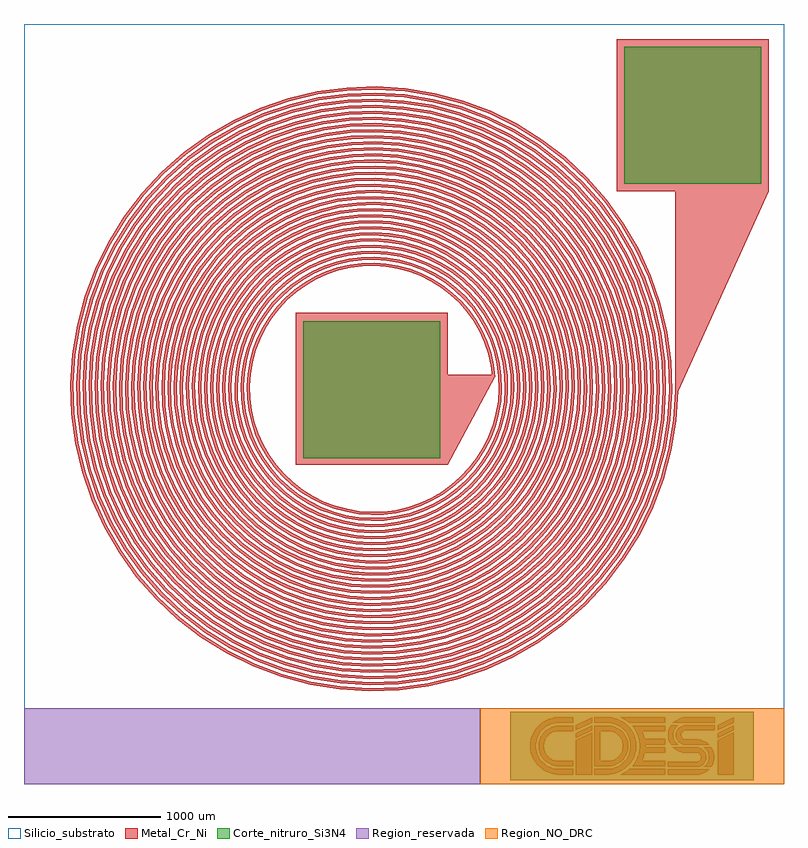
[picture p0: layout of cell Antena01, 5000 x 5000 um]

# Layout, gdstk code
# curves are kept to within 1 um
from math import pi, radians
import gdstk
lib = gdstk.Library(unit=1e-6, precision=1e-06)
def R(c, l, rs):  # rectangles x0, y0, x1, y1
    for r in rs: c.add(gdstk.rectangle(r[:2], r[2:], *l))
def P(c, l, *ps):  # polygons
    for p in ps: c.add(gdstk.Polygon(p, *l))
Silicio_substrato = (1, 1)
Region_reservada = (1, 2)
Region_NO_DRC = (1, 3)
Metal_Cr_Ni = (2, 0)
Corte_nitruro_Si3N4 = (3, 0)

spiral = lib.new_cell('Spiral')
spiral.add(gdstk.FlexPath([(-453546,50627),(-453549,50705),(-453560,50783),(-453579,50860),(-453605,50934),(-453638,51006),(-453678,51074),(-453724,51137),(-453777,51196),(-453835,51250),(-453898,51297),(-453966,51339),(-454037,51373),(-454111,51400),(-454188,51420),(-454267,51432),(-454346,51437),(-454425,51434),(-454504,51423),(-454582,51404),(-454657,51378),(-454729,51344),(-454798,51304),(-454863,51257),(-454922,51203),(-454976,51144),(-455025,51080),(-455066,51012),(-455101,50940),(-455129,50864),(-455149,50787),(-455161,50707),(-455166,50627),(-455163,50547),(-455151,50467),(-455132,50388),(-455106,50312),(-455072,50239),(-455031,50169),(-454983,50104),(-454929,50044),(-454870,49989),(-454805,49940),(-454736,49898),(-454663,49862),(-454586,49835),(-454508,49814),(-454427,49802),(-454346,49797),(-454265,49800),(-454184,49812),(-454105,49831),(-454027,49858),(-453953,49892),(-453883,49934),(-453817,49982),(-453756,50037),(-453700,50097),(-453651,50162),(-453608,50232),(-453572,50307),(-453544,50384),(-453523,50463),(-453511,50545),(-453506,50627),(-453509,50709),(-453521,50791),(-453540,50871),(-453568,50949),(-453602,51024),(-453644,51096),(-453693,51163),(-453748,51225),(-453810,51281),(-453876,51331),(-453947,51374),(-454022,51410),(-454100,51439),(-454180,51459),(-454263,51472),(-454346,51477),(-454429,51474),(-454512,51462),(-454593,51442),(-454672,51415),(-454748,51379),(-454820,51337),(-454888,51287),(-454951,51232),(-455007,51170),(-455058,51103),(-455102,51031),(-455138,50955),(-455167,50876),(-455188,50795),(-455201,50711),(-455206,50627),(-455202,50543),(-455191,50459),(-455171,50377),(-455143,50297),(-455107,50220),(-455064,50147),(-455014,50079),(-454958,50015),(-454895,49958),(-454827,49907),(-454755,49862),(-454678,49826),(-454598,49796),(-454515,49775),(-454431,49762),(-454346,49757),(-454261,49761),(-454176,49772),(-454093,49793),(-454012,49821),(-453934,49857),(-453861,49901),(-453791,49951),(-453727,50008),(-453669,50072),(-453617,50140),(-453573,50214),(-453535,50291),(-453506,50372),(-453484,50456),(-453471,50541),(-453466,50627),(-453470,50713),(-453482,50799),(-453502,50883),(-453531,50965),(-453567,51043),(-453611,51118),(-453662,51188),(-453720,51253),(-453784,51312),(-453854,51364),(-453928,51409),(-454006,51447),(-454088,51477),(-454173,51499),(-454259,51512),(-454346,51517),(-454433,51513),(-454520,51501),(-454605,51480),(-454688,51452),(-454767,51415),(-454843,51370),(-454913,51318),(-454979,51260),(-455038,51195),(-455091,51125),(-455137,51050),(-455175,50970),(-455205,50888),(-455227,50802),(-455241,50715),(-455246,50627),(-455242,50539),(-455230,50451),(-455209,50365),(-455180,50282),(-455142,50201),(-455097,50125),(-455045,50053),(-454986,49987),(-454921,49927),(-454849,49873),(-454773,49827),(-454693,49789),(-454610,49758),(-454523,49736),(-454435,49722),(-454346,49717),(-454257,49721),(-454168,49733),(-454081,49754),(-453997,49784),(-453916,49822),(-453838,49867),(-453766,49920),(-453699,49980),(-453638,50046),(-453584,50118),(-453537,50195),(-453498,50276),(-453467,50360),(-453445,50448),(-453431,50537),(-453426,50627),(-453430,50717),(-453442,50807),(-453464,50895),(-453494,50980),(-453532,51062),(-453578,51140),(-453631,51213),(-453692,51281),(-453759,51343),(-453831,51397),(-453909,51444),(-453991,51484),(-454077,51515),(-454165,51538),(-454255,51552),(-454346,51557),(-454437,51553),(-454528,51540),(-454617,51519),(-454703,51489),(-454786,51450),(-454865,51403),(-454939,51349),(-455007,51288),(-455069,51221),(-455124,51147),(-455172,51069),(-455212,50986),(-455244,50899),(-455267,50810),(-455281,50719),(-455286,50627),(-455282,50535),(-455269,50443),(-455247,50354),(-455217,50266),(-455178,50182),(-455131,50103),(-455076,50028),(-455014,49959),(-454946,49896),(-454872,49840),(-454792,49792),(-454709,49752),(-454621,49720),(-454531,49696),(-454439,49682),(-454346,49677),(-454253,49681),(-454160,49694),(-454070,49716),(-453981,49747),(-453897,49786),(-453816,49834),(-453741,49889),(-453671,49952),(-453607,50021),(-453551,50096),(-453502,50176),(-453461,50261),(-453429,50349),(-453406,50440),(-453391,50533),(-453386,50627),(-453390,50721),(-453403,50815),(-453426,50906),(-453457,50995),(-453497,51081),(-453545,51162),(-453601,51239),(-453664,51309),(-453733,51373),(-453809,51430),(-453890,51480),(-453976,51521),(-454065,51553),(-454157,51577),(-454251,51592),(-454346,51597),(-454441,51593),(-454535,51580),(-454628,51557),(-454718,51525),(-454805,51485),(-454887,51437),(-454964,51380),(-455035,51316),(-455100,51246),(-455158,51169),(-455208,51087),(-455249,51001),(-455282,50911),(-455306,50818),(-455321,50723),(-455326,50627),(-455322,50531),(-455308,50436),(-455286,50342),(-455254,50251),(-455213,50164),(-455164,50080),(-455107,50003),(-455043,49930),(-454971,49865),(-454894,49807),(-454811,49757),(-454724,49715),(-454633,49681),(-454539,49657),(-454443,49642),(-454346,49637),(-454249,49641),(-454153,49655),(-454058,49678),(-453966,49710),(-453878,49751),(-453794,49801),(-453715,49858),(-453642,49923),(-453576,49995),(-453518,50074),(-453467,50157),(-453424,50245),(-453391,50337),(-453366,50432),(-453351,50529),(-453346,50627),(-453350,50725),(-453364,50822),(-453387,50918),(-453420,51011),(-453461,51100),(-453511,51185),(-453570,51264),(-453635,51338),(-453708,51404),(-453787,51464),(-453871,51515),(-453960,51558),(-454053,51592),(-454149,51616),(-454247,51632),(-454346,51637),(-454445,51633),(-454543,51619),(-454640,51595),(-454733,51562),(-454824,51520),(-454909,51470),(-454990,51411),(-455064,51345),(-455131,51271),(-455191,51192),(-455243,51106),(-455286,51016),(-455320,50923),(-455345,50826),(-455360,50727),(-455366,50627),(-455362,50527),(-455348,50428),(-455324,50330),(-455291,50236),(-455248,50145),(-455197,50058),(-455138,49977),(-455071,49902),(-454997,49834),(-454916,49774),(-454830,49721),(-454739,49678),(-454644,49643),(-454547,49618),(-454447,49603),(-454346,49597),(-454245,49601),(-454145,49616),(-454046,49640),(-453951,49673),(-453859,49716),(-453772,49767),(-453690,49827),(-453614,49895),(-453545,49970),(-453484,50051),(-453432,50138),(-453387,50230),(-453353,50326),(-453327,50424),(-453312,50525),(-453306,50627),(-453310,50729),(-453325,50830),(-453349,50929),(-453383,51026),(-453426,51119),(-453478,51207),(-453539,51290),(-453607,51366),(-453683,51435),(-453765,51497),(-453853,51550),(-453945,51595),(-454042,51630),(-454141,51656),(-454243,51671),(-454346,51677),(-454449,51673),(-454551,51658),(-454651,51634),(-454749,51599),(-454842,51556),(-454931,51503),(-455015,51442),(-455092,51373),(-455162,51297),(-455224,51214),(-455278,51125),(-455323,51032),(-455359,50934),(-455384,50834),(-455400,50731),(-455406,50627),(-455402,50523),(-455387,50420),(-455362,50319),(-455328,50220),(-455284,50126),(-455230,50036),(-455169,49952),(-455099,49874),(-455022,49803),(-454938,49740),(-454849,49686),(-454755,49641),(-454656,49605),(-454555,49579),(-454451,49563),(-454346,49557),(-454241,49562),(-454137,49576),(-454035,49601),(-453936,49636),(-453840,49681),(-453749,49734),(-453664,49796),(-453586,49867),(-453515,49945),(-453451,50029),(-453396,50119),(-453351,50215),(-453314,50314),(-453288,50417),(-453272,50521),(-453266,50627),(-453271,50733),(-453286,50838),(-453311,50941),(-453346,51041),(-453391,51138),(-453445,51229),(-453508,51315),(-453579,51394),(-453657,51466),(-453743,51530),(-453834,51586),(-453930,51632),(-454030,51668),(-454134,51695),(-454239,51711),(-454346,51717),(-454453,51712),(-454559,51697),(-454663,51672),(-454764,51636),(-454861,51591),(-454954,51536),(-455040,51473),(-455120,51401),(-455193,51322),(-455257,51236),(-455313,51144),(-455360,51047),(-455397,50946),(-455424,50841),(-455440,50735),(-455446,50627),(-455441,50519),(-455426,50412),(-455400,50307),(-455365,50205),(-455319,50107),(-455264,50014),(-455200,49926),(-455127,49846),(-455047,49772),(-454961,49707),(-454868,49651),(-454770,49604),(-454668,49567),(-454562,49540),(-454455,49523),(-454346,49517),(-454237,49522),(-454129,49537),(-454023,49563),(-453920,49599),(-453821,49645),(-453727,49701),(-453639,49766),(-453558,49839),(-453484,49919),(-453418,50007),(-453361,50101),(-453314,50199),(-453276,50302),(-453249,50409),(-453232,50517),(-453226,50627),(-453231,50737),(-453246,50846),(-453272,50953),(-453309,51057),(-453355,51156),(-453412,51251),(-453477,51340),(-453551,51422),(-453632,51497),(-453720,51563),(-453815,51621),(-453915,51669),(-454019,51707),(-454126,51734),(-454235,51751),(-454346,51757),(-454457,51752),(-454567,51737),(-454675,51710),(-454779,51673),(-454880,51626),(-454976,51570),(-455066,51504),(-455149,51430),(-455224,51347),(-455291,51258),(-455349,51163),(-455397,51062),(-455435,50957),(-455463,50849),(-455480,50739),(-455486,50627),(-455481,50515),(-455465,50404),(-455439,50296),(-455402,50190),(-455354,50088),(-455297,49992),(-455231,49901),(-455156,49817),(-455073,49741),(-454983,49674),(-454887,49616),(-454785,49567),(-454679,49528),(-454570,49500),(-454459,49483),(-454346,49477),(-454233,49482),(-454121,49498),(-454012,49525),(-453905,49562),(-453802,49610),(-453705,49668),(-453614,49735),(-453529,49810),(-453453,49894),(-453385,49985),(-453326,50082),(-453277,50184),(-453238,50291),(-453210,50401),(-453192,50513),(-453186,50627),(-453191,50741),(-453207,50854),(-453234,50964),(-453272,51072),(-453320,51175),(-453378,51274),(-453446,51366),(-453522,51451),(-453607,51528),(-453698,51597),(-453796,51656),(-453899,51706),(-454007,51745),(-454118,51773),(-454231,51791),(-454346,51797),(-454461,51792),(-454575,51776),(-454686,51748),(-454795,51710),(-454899,51662),(-454998,51603),(-455091,51535),(-455177,51458),(-455255,51373),(-455324,51280),(-455384,51182),(-455434,51078),(-455473,50969),(-455502,50857),(-455520,50743),(-455526,50627),(-455521,50511),(-455505,50397),(-455477,50284),(-455438,50174),(-455389,50069),(-455330,49969),(-455262,49876),(-455184,49789),(-455098,49710),(-455005,49641),(-454905,49580),(-454800,49530),(-454691,49490),(-454578,49461),(-454463,49443),(-454346,49437),(-454229,49442),(-454114,49459),(-454000,49486),(-453890,49525),(-453784,49575),(-453683,49634),(-453588,49704),(-453501,49782),(-453422,49869),(-453351,49962),(-453290,50063),(-453240,50169),(-453199,50279),(-453170,50393),(-453152,50509),(-453146,50627),(-453151,50745),(-453168,50861),(-453196,50976),(-453235,51087),(-453285,51194),(-453345,51296),(-453415,51391),(-453494,51479),(-453581,51559),(-453676,51630),(-453777,51691),(-453884,51743),(-453995,51783),(-454110,51813),(-454227,51831),(-454346,51837),(-454465,51832),(-454582,51815),(-454698,51787),(-454810,51747),(-454918,51697),(-455020,51636),(-455116,51566),(-455205,51486),(-455286,51398),(-455357,51303),(-455419,51201),(-455471,51093),(-455512,50981),(-455541,50865),(-455560,50747),(-455566,50627),(-455561,50507),(-455544,50389),(-455515,50272),(-455475,50159),(-455425,50050),(-455364,49947),(-455292,49850),(-455212,49761),(-455124,49680),(-455027,49607),(-454924,49545),(-454816,49493),(-454703,49452),(-454586,49422),(-454467,49404),(-454346,49397),(-454225,49402),(-454106,49419),(-453988,49448),(-453874,49488),(-453765,49539),(-453661,49601),(-453563,49673),(-453473,49754),(-453391,49843),(-453318,49940),(-453255,50044),(-453203,50153),(-453161,50268),(-453131,50385),(-453113,50506),(-453106,50627),(-453111,50749),(-453129,50869),(-453158,50987),(-453198,51102),(-453250,51213),(-453312,51318),(-453384,51416),(-453466,51507),(-453556,51590),(-453654,51663),(-453758,51727),(-453869,51780),(-453984,51821),(-454102,51852),(-454224,51870),(-454346,51877),(-454469,51872),(-454590,51854),(-454709,51825),(-454825,51784),(-454937,51732),(-455043,51669),(-455142,51597),(-455233,51514),(-455317,51424),(-455391,51325),(-455454,51219),(-455508,51108),(-455550,50992),(-455581,50873),(-455599,50750),(-455606,50627),(-455601,50503),(-455583,50381),(-455554,50261),(-455512,50144),(-455460,50032),(-455397,49925),(-455323,49825),(-455240,49733),(-455149,49649),(-455049,49574),(-454943,49510),(-454831,49456),(-454714,49413),(-454594,49383),(-454470,49364),(-454346,49357),(-454221,49362),(-454098,49380),(-453977,49410),(-453859,49451),(-453746,49504),(-453638,49568),(-453538,49642),(-453444,49725),(-453360,49818),(-453285,49918),(-453220,50025),(-453166,50138),(-453123,50256),(-453092,50378),(-453073,50502),(-453066,50627),(-453072,50753),(-453089,50877),(-453119,50999),(-453161,51118),(-453214,51232),(-453279,51340),(-453353,51442),(-453437,51536),(-453530,51621),(-453631,51696),(-453739,51762),(-453853,51816),(-453972,51860),(-454095,51891),(-454220,51910),(-454346,51917),(-454473,51911),(-454598,51893),(-454721,51863),(-454841,51821),(-454956,51767),(-455065,51703),(-455167,51628),(-455262,51543),(-455348,51449),(-455424,51347),(-455490,51238),(-455545,51124),(-455588,51004),(-455620,50880),(-455639,50754),(-455646,50627),(-455640,50500),(-455622,50373),(-455592,50249),(-455549,50129),(-455495,50013),(-455430,49903),(-455354,49800),(-455269,49704),(-455174,49618),(-455072,49541),(-454962,49474),(-454846,49419),(-454726,49375),(-454601,49343),(-454474,49324),(-454346,49317),(-454218,49323),(-454090,49341),(-453965,49372),(-453844,49414),(-453727,49469),(-453616,49535),(-453512,49611),(-453416,49697),(-453329,49792),(-453252,49896),(-453185,50006),(-453129,50123),(-453085,50244),(-453053,50370),(-453033,50498),(-453026,50627),(-453032,50756),(-453050,50885),(-453081,51011),(-453124,51133),(-453179,51251),(-453245,51362),(-453322,51467),(-453409,51564),(-453505,51652),(-453609,51730),(-453721,51797),(-453838,51853),(-453960,51898),(-454087,51930),(-454216,51950),(-454346,51957),(-454476,51951),(-454606,51933),(-454733,51902),(-454856,51858),(-454974,51803),(-455087,51736),(-455193,51658),(-455290,51571),(-455378,51474),(-455457,51369),(-455525,51257),(-455582,51139),(-455627,51015),(-455659,50888),(-455679,50758),(-455686,50627),(-455680,50496),(-455661,50365),(-455630,50237),(-455586,50113),(-455531,49994),(-455463,49880),(-455385,49774),(-455297,49676),(-455200,49587),(-455094,49508),(-454981,49439),(-454862,49382),(-454737,49337),(-454609,49304),(-454478,49284),(-454346,49277),(-454214,49283),(-454082,49302),(-453954,49333),(-453828,49377),(-453708,49434),(-453594,49501),(-453487,49580),(-453388,49669),(-453298,49767),(-453218,49874),(-453149,49987),(-453092,50108),(-453046,50233),(-453013,50362),(-452993,50494),(-452986,50627),(-452992,50760),(-453011,50893),(-453043,51022),(-453087,51148),(-453144,51270),(-453212,51385),(-453291,51493),(-453381,51592),(-453480,51683),(-453587,51763),(-453702,51832),(-453823,51890),(-453949,51936),(-454079,51969),(-454212,51990),(-454346,51997),(-454480,51991),(-454614,51972),(-454744,51940),(-454871,51895),(-454993,51838),(-455109,51769),(-455218,51689),(-455318,51599),(-455409,51500),(-455490,51392),(-455560,51276),(-455619,51154),(-455665,51027),(-455698,50896),(-455719,50762),(-455726,50627),(-455720,50492),(-455701,50358),(-455668,50226),(-455623,50098),(-455566,49975),(-455497,49858),(-455416,49749),(-455325,49648),(-455225,49556),(-455116,49474),(-455000,49404),(-454877,49345),(-454749,49299),(-454617,49265),(-454482,49244),(-454346,49237),(-454210,49243),(-454075,49262),(-453942,49295),(-453813,49340),(-453689,49398),(-453572,49468),(-453461,49549),(-453360,49641),(-453267,49742),(-453185,49851),(-453114,49969),(-453055,50092),(-453008,50221),(-452974,50354),(-452953,50490),(-452946,50627),(-452952,50764),(-452972,50900),(-453004,51034),(-453050,51164),(-453109,51288),(-453179,51407),(-453260,51518),(-453353,51620),(-453454,51714),(-453565,51796),(-453683,51868),(-453807,51927),(-453937,51974),(-454071,52009),(-454208,52030),(-454346,52037),(-454484,52031),(-454621,52011),(-454756,51978),(-454887,51932),(-455012,51873),(-455131,51802),(-455243,51720),(-455347,51628),(-455440,51525),(-455524,51414),(-455596,51295),(-455656,51169),(-455703,51039),(-455737,50904),(-455759,50766),(-455766,50627),(-455760,50488),(-455740,50350),(-455707,50214),(-455660,50083),(-455601,49956),(-455530,49836),(-455447,49723),(-455354,49619),(-455250,49525),(-455138,49441),(-455019,49369),(-454892,49308),(-454761,49260),(-454625,49226),(-454486,49205),(-454346,49197),(-454206,49203),(-454067,49223),(-453930,49257),(-453798,49304),(-453670,49363),(-453549,49435),(-453436,49518),(-453331,49612),(-453236,49716),(-453152,49829),(-453079,49950),(-453018,50077),(-452970,50210),(-452935,50346),(-452914,50486),(-452906,50627),(-452912,50768),(-452932,50908),(-452966,51046),(-453013,51179),(-453073,51307),(-453146,51429),(-453229,51543),(-453324,51649),(-453429,51744),(-453543,51830),(-453664,51903),(-453792,51964),(-453926,52013),(-454063,52048),(-454204,52069),(-454346,52077),(-454488,52071),(-454629,52050),(-454767,52016),(-454902,51969),(-455031,51909),(-455154,51836),(-455269,51751),(-455375,51656),(-455471,51550),(-455557,51436),(-455631,51314),(-455693,51185),(-455741,51050),(-455777,50912),(-455798,50770),(-455806,50627),(-455800,50484),(-455779,50342),(-455745,50203),(-455697,50067),(-455636,49937),(-455563,49814),(-455478,49698),(-455382,49591),(-455276,49494),(-455161,49408),(-455037,49333),(-454908,49271),(-454772,49222),(-454633,49186),(-454490,49165),(-454346,49157),(-454202,49163),(-454059,49184),(-453919,49219),(-453782,49267),(-453652,49328),(-453527,49402),(-453411,49487),(-453303,49584),(-453205,49691),(-453119,49807),(-453044,49931),(-452981,50062),(-452932,50198),(-452896,50339),(-452874,50482),(-452866,50627),(-452873,50772),(-452893,50916),(-452928,51057),(-452976,51194),(-453038,51326),(-453112,51451),(-453199,51569),(-453296,51677),(-453404,51775),(-453520,51863),(-453645,51938),(-453777,52001),(-453914,52051),(-454056,52087),(-454200,52109),(-454346,52117),(-454492,52110),(-454637,52090),(-454779,52055),(-454917,52006),(-455050,51944),(-455176,51869),(-455294,51782),(-455403,51684),(-455502,51576),(-455590,51458),(-455666,51333),(-455730,51200),(-455780,51062),(-455816,50919),(-455838,50774),(-455846,50627),(-455839,50480),(-455818,50334),(-455783,50191),(-455734,50052),(-455672,49918),(-455596,49792),(-455509,49673),(-455410,49563),(-455301,49463),(-455183,49375),(-455056,49298),(-454923,49234),(-454784,49184),(-454640,49147),(-454494,49125),(-454346,49117),(-454198,49124),(-454051,49145),(-453907,49180),(-453767,49230),(-453633,49293),(-453505,49368),(-453385,49456),(-453275,49556),(-453174,49665),(-453085,49785),(-453008,49912),(-452944,50046),(-452893,50186),(-452856,50331),(-452834,50478),(-452826,50627),(-452833,50776),(-452854,50924),(-452890,51069),(-452939,51210),(-453003,51345),(-453079,51474),(-453168,51594),(-453268,51705),(-453378,51806),(-453498,51896),(-453626,51974),(-453761,52038),(-453902,52089),(-454048,52126),(-454196,52149),(-454346,52157),(-454496,52150),(-454645,52129),(-454791,52093),(-454932,52043),(-455069,51979),(-455198,51902),(-455319,51813),(-455431,51712),(-455533,51601),(-455623,51480),(-455701,51351),(-455766,51215),(-455818,51073),(-455855,50927),(-455878,50778),(-455886,50627),(-455879,50476),(-455858,50326),(-455821,50179),(-455771,50037),(-455707,49900),(-455630,49769),(-455540,49647),(-455438,49535),(-455327,49432),(-455205,49341),(-455075,49263),(-454938,49197),(-454795,49146),(-454648,49108),(-454498,49085),(-454346,49077),(-454194,49084),(-454043,49106),(-453896,49142),(-453752,49193),(-453614,49257),(-453483,49335),(-453360,49425),(-453246,49527),(-453143,49640),(-453052,49762),(-452973,49893),(-452907,50031),(-452855,50175),(-452817,50323),(-452794,50474),(-452786,50627),(-452793,50780),(-452815,50932),(-452851,51080),(-452902,51225),(-452967,51364),(-453046,51496),(-453137,51619),(-453239,51734),(-453353,51837),(-453476,51929),(-453607,52009),(-453746,52075),(-453891,52128),(-454040,52166),(-454192,52189),(-454346,52197),(-454500,52190),(-454653,52168),(-454802,52131),(-454948,52080),(-455088,52014),(-455220,51936),(-455345,51844),(-455460,51741),(-455564,51627),(-455657,51503),(-455737,51370),(-455803,51231),(-455856,51085),(-455894,50935),(-455918,50782),(-455926,50627),(-455919,50472),(-455897,50319),(-455860,50168),(-455808,50021),(-455742,49881),(-455663,49747),(-455571,49622),(-455467,49506),(-455352,49401),(-455227,49308),(-455094,49228),(-454954,49160),(-454807,49107),(-454656,49069),(-454502,49045),(-454346,49037),(-454190,49044),(-454036,49066),(-453884,49104),(-453737,49156),(-453595,49222),(-453461,49302),(-453335,49395),(-453218,49499),(-453113,49615),(-453019,49740),(-452938,49874),(-452870,50016),(-452817,50163),(-452778,50315),(-452754,50470),(-452746,50627),(-452753,50784),(-452776,50939),(-452813,51092),(-452865,51240),(-452932,51383),(-453013,51518),(-453106,51645),(-453211,51762),(-453327,51868),(-453454,51963),(-453589,52044),(-453731,52112),(-453879,52166),(-454032,52205),(-454188,52229),(-454346,52237),(-454504,52230),(-454660,52207),(-454814,52169),(-454963,52117),(-455106,52050),(-455243,51969),(-455370,51875),(-455488,51769),(-455595,51652),(-455690,51525),(-455772,51389),(-455840,51246),(-455894,51097),(-455934,50943),(-455958,50786),(-455966,50627),(-455959,50468),(-455936,50311),(-455898,50156),(-455845,50006),(-455777,49862),(-455696,49725),(-455602,49597),(-455495,49478),(-455377,49370),(-455249,49275),(-455113,49192),(-454969,49123),(-454819,49069),(-454664,49030),(-454506,49005),(-454346,48997),(-454186,49004),(-454028,49027),(-453872,49065),(-453721,49119),(-453576,49187),(-453438,49269),(-453309,49364),(-453190,49471),(-453082,49589),(-452986,49718),(-452902,49855),(-452833,50000),(-452778,50151),(-452739,50307),(-452715,50466),(-452706,50627),(-452713,50788),(-452736,50947),(-452775,51104),(-452829,51256),(-452897,51402),(-452979,51540),(-453075,51670),(-453183,51790),(-453302,51899),(-453431,51996),(-453570,52079),(-453716,52149),(-453868,52204),(-454024,52244),(-454184,52268),(-454346,52277),(-454508,52270),(-454668,52247),(-454826,52208),(-454978,52154),(-455125,52085),(-455265,52002),(-455396,51906),(-455516,51797),(-455626,51677),(-455723,51547),(-455807,51408),(-455877,51261),(-455933,51108),(-455973,50951),(-455997,50790),(-456006,50627),(-455999,50464),(-455975,50303),(-455936,50145),(-455882,49991),(-455813,49843),(-455729,49703),(-455633,49571),(-455523,49450),(-455403,49339),(-455272,49242),(-455132,49157),(-454984,49086),(-454830,49031),(-454672,48990),(-454510,48966),(-454346,48957),(-454182,48964),(-454020,48988),(-453861,49027),(-453706,49082),(-453557,49151),(-453416,49235),(-453284,49333),(-453162,49443),(-453051,49564),(-452952,49696),(-452867,49837),(-452796,49985),(-452740,50140),(-452700,50299),(-452675,50462),(-452666,50627),(-452673,50792),(-452697,50955),(-452737,51115),(-452792,51271),(-452862,51420),(-452946,51562),(-453044,51696),(-453155,51818),(-453277,51930),(-453409,52029),(-453551,52115),(-453700,52186),(-453856,52242),(-454017,52283),(-454180,52308),(-454346,52317),(-454512,52309),(-454676,52286),(-454837,52246),(-454994,52191),(-455144,52120),(-455287,52035),(-455421,51937),(-455545,51826),(-455657,51703),(-455756,51569),(-455843,51427),(-455914,51277),(-455971,51120),(-456012,50958),(-456037,50794),(-456046,50627),(-456038,50460),(-456015,50295),(-455975,50133),(-455919,49975),(-455848,49824),(-455763,49680),(-455664,49546),(-455552,49421),(-455428,49309),(-455294,49208),(-455151,49122),(-454999,49049),(-454842,48992),(-454679,48951),(-454514,48926),(-454346,48917),(-454178,48925),(-454012,48949),(-453849,48989),(-453691,49045),(-453538,49116),(-453394,49202),(-453258,49302),(-453133,49414),(-453020,49539),(-452919,49674),(-452832,49818),(-452759,49970),(-452702,50128),(-452660,50292),(-452635,50458),(-452626,50627),(-452634,50796),(-452658,50963),(-452698,51127),(-452755,51286),(-452826,51439),(-452913,51585),(-453013,51721),(-453126,51847),(-453251,51961),(-453387,52062),(-453532,52150),(-453685,52223),(-453844,52281),(-454009,52323),(-454176,52348),(-454346,52357),(-454516,52349),(-454684,52325),(-454849,52284),(-455009,52228),(-455163,52155),(-455309,52069),(-455446,51968),(-455573,51854),(-455688,51728),(-455790,51592),(-455878,51446),(-455951,51292),(-456009,51132),(-456051,50966),(-456077,50797),(-456086,50627),(-456078,50456),(-456054,50287),(-456013,50121),(-455956,49960),(-455883,49805),(-455796,49658),(-455694,49520),(-455580,49393),(-455453,49278),(-455316,49175),(-455169,49086),(-455015,49013),(-454853,48954),(-454687,48912),(-454517,48886),(-454346,48877),(-454174,48885),(-454004,48909),(-453837,48951),(-453675,49008),(-453520,49081),(-453372,49169),(-453233,49271),(-453105,49386),(-452989,49513),(-452886,49651),(-452797,49799),(-452722,49954),(-452664,50117),(-452621,50284),(-452595,50455),(-452586,50627),(-452594,50800),(-452619,50971),(-452660,51138),(-452718,51301),(-452791,51458),(-452879,51607),(-452982,51746),(-453098,51875),(-453226,51992),(-453365,52096),(-453513,52185),(-453670,52260),(-453833,52319),(-454001,52362),(-454173,52388),(-454346,52397),(-454520,52389),(-454692,52364),(-454860,52323),(-455024,52265),(-455182,52191),(-455331,52102),(-455472,51999),(-455601,51882),(-455719,51753),(-455823,51614),(-455913,51465),(-455988,51307),(-456048,51143),(-456091,50974),(-456117,50801),(-456126,50627),(-456118,50452),(-456093,50279),(-456051,50110),(-455993,49945),(-455919,49786),(-455829,49636),(-455725,49495),(-455608,49365),(-455479,49247),(-455338,49142),(-455188,49051),(-455030,48976),(-454865,48916),(-454695,48873),(-454521,48846),(-454346,48837),(-454170,48845),(-453997,48870),(-453826,48912),(-453660,48971),(-453501,49046),(-453349,49136),(-453208,49240),(-453077,49358),(-452958,49488),(-452852,49629),(-452761,49780),(-452685,49939),(-452625,50105),(-452582,50276),(-452555,50451),(-452546,50627),(-452554,50803),(-452579,50978),(-452622,51150),(-452681,51317),(-452756,51477),(-452846,51629),(-452951,51772),(-453070,51903),(-453201,52023),(-453343,52129),(-453494,52221),(-453654,52297),(-453821,52357),(-453993,52401),(-454169,52428),(-454346,52437),(-454523,52429),(-454699,52403),(-454872,52361),(-455040,52302),(-455201,52226),(-455354,52135),(-455497,52030),(-455629,51910),(-455749,51779),(-455856,51636),(-455948,51483),(-456025,51323),(-456086,51155),(-456130,50982),(-456157,50805),(-456166,50627),(-456158,50449),(-456132,50272),(-456089,50098),(-456030,49930),(-455954,49768),(-455862,49614),(-455756,49470),(-455636,49337),(-455504,49216),(-455361,49109),(-455207,49016),(-455045,48939),(-454877,48878),(-454703,48833),(-454525,48806),(-454346,48797),(-454167,48805),(-453989,48831),(-453814,48874),(-453645,48934),(-453482,49010),(-453327,49102),(-453182,49209),(-453048,49329),(-452927,49462),(-452819,49607),(-452726,49761),(-452648,49924),(-452587,50093),(-452543,50268),(-452515,50447),(-452506,50627),(-452514,50807),(-452540,50986),(-452583,51162),(-452644,51332),(-452721,51496),(-452813,51651),(-452920,51797),(-453041,51932),(-453175,52054),(-453320,52162),(-453475,52256),(-453639,52334),(-453810,52396),(-453985,52440),(-454165,52467),(-454346,52477),(-454527,52469),(-454707,52443),(-454884,52399),(-455055,52338),(-455220,52261),(-455376,52168),(-455522,52060),(-455658,51939),(-455780,51804),(-455889,51658),(-455984,51502),(-456062,51338),(-456124,51166),(-456169,50990),(-456196,50809),(-456206,50627),(-456198,50445),(-456171,50264),(-456128,50087),(-456067,49914),(-455989,49749),(-455896,49592),(-455787,49444),(-455665,49308),(-455530,49185),(-455383,49075),(-455226,48981),(-455061,48902),(-454888,48839),(-454711,48794),(-454529,48767),(-454346,48757),(-454163,48765),(-453981,48792),(-453803,48836),(-453629,48897),(-453463,48975),(-453305,49069),(-453157,49178),(-453020,49301),(-452896,49437),(-452786,49585),(-452691,49742),(-452611,49909),(-452549,50082),(-452503,50260),(-452476,50443),(-452466,50627),(-452474,50811),(-452501,50994),(-452545,51173),(-452607,51347),(-452685,51515),(-452780,51674),(-452889,51822),(-453013,51960),(-453150,52085),(-453298,52195),(-453457,52291),(-453624,52371),(-453798,52434),(-453978,52479),(-454161,52507),(-454346,52517),(-454531,52509),(-454715,52482),(-454895,52437),(-455070,52375),(-455238,52297),(-455398,52202),(-455548,52091),(-455686,51967),(-455811,51830),(-455923,51681),(-456019,51521),(-456099,51353),(-456162,51178),(-456208,50997),(-456236,50813),(-456246,50627),(-456237,50441),(-456211,50256),(-456166,50075),(-456104,49899),(-456024,49730),(-455929,49569),(-455818,49419),(-455693,49280),(-455555,49154),(-455405,49042),(-455245,48945),(-455076,48865),(-454900,48801),(-454718,48755),(-454533,48727),(-454346,48717),(-454159,48726),(-453973,48752),(-453791,48797),(-453614,48860),(-453444,48940),(-453283,49036),(-453132,49147),(-452992,49273),(-452865,49412),(-452753,49562),(-452655,49723),(-452574,49893),(-452510,50070),(-452464,50253),(-452436,50439),(-452426,50627),(-452435,50815),(-452462,51002),(-452507,51185),(-452570,51363),(-452650,51534),(-452746,51696),(-452858,51848),(-452985,51988),(-453124,52116),(-453276,52229),(-453438,52326),(-453608,52408),(-453786,52472),(-453970,52519),(-454157,52547),(-454346,52557),(-454535,52548),(-454723,52521),(-454907,52476),(-455086,52412),(-455257,52332),(-455420,52235),(-455573,52122),(-455714,51995),(-455842,51855),(-455956,51703),(-456054,51540),(-456136,51368),(-456201,51190),(-456247,51005),(-456276,50817),(-456286,50627),(-456277,50437),(-456250,50248),(-456204,50063),(-456141,49884),(-456060,49711),(-455962,49547),(-455849,49394),(-455721,49252),(-455580,49123),(-455427,49009),(-455264,48910),(-455091,48828),(-454912,48763),(-454726,48716),(-454537,48687),(-454346,48677),(-454155,48686),(-453965,48713),(-453779,48759),(-453599,48823),(-453425,48904),(-453261,49003),(-453106,49116),(-452964,49245),(-452834,49386),(-452719,49540),(-452620,49705),(-452538,49878),(-452472,50059),(-452425,50245),(-452396,50435),(-452386,50627),(-452395,50819),(-452422,51010),(-452469,51197),(-452533,51378),(-452615,51552),(-452713,51718),(-452828,51873),(-452957,52016),(-453099,52146),(-453254,52262),(-453419,52362),(-453593,52445),(-453775,52510),(-453962,52558),(-454153,52587),(-454346,52597),(-454539,52588),(-454731,52560),(-454918,52514),(-455101,52449),(-455276,52367),(-455443,52268),(-455599,52153),(-455743,52024),(-455873,51880),(-455989,51725),(-456089,51559),(-456173,51384),(-456239,51201),(-456287,51013),(-456316,50821),(-456326,50627),(-456317,50433),(-456289,50240),(-456243,50052),(-456178,49868),(-456095,49692),(-455995,49525),(-455880,49368),(-455750,49223),(-455606,49092),(-455450,48975),(-455283,48875),(-455107,48791),(-454923,48724),(-454734,48676),(-454541,48647),(-454346,48637),(-454151,48646),(-453958,48674),(-453768,48721),(-453584,48786),(-453406,48869),(-453238,48969),(-453081,49085),(-452935,49216),(-452803,49361),(-452686,49518),(-452585,49686),(-452501,49863),(-452434,50047),(-452386,50237),(-452356,50431)], 20, ends="flush", simple_path=True, layer=2, datatype=0))  # Metal_Cr_Ni

chip_plantilla5x5mm = lib.new_cell('Chip_Plantilla5x5mm')
R(chip_plantilla5x5mm, Silicio_substrato, [(0,0,5000,5000)])
R(chip_plantilla5x5mm, Region_reservada, [(0,0,3000,500)])
R(chip_plantilla5x5mm, Region_NO_DRC, [(3000,0,5000,500)])

logo_cidesi = lib.new_cell('Logo_CIDESI')
R(logo_cidesi, Metal_Cr_Ni, [(-248,-134,-158,-98), (-248,-98,-210,98), (-248,98,-158,134)])
P(logo_cidesi, Metal_Cr_Ni, [(257,8),(243,33),(237,56),(237,90),(243,111),(257,137),(305,137),(293,126),(279,107),(276,99),(272,77),(273,60),(276,45),(279,38),(293,18),(305,8)],
  [(473,-138),(485,-128),(498,-108),(501,-101),(506,-77),(506,-69),(503,-54),(498,-39),(485,-20),(473,-9),(521,-9),(530,-24),(540,-56),(540,-90),(534,-113),(530,-123),(521,-138)],
  [(563,-188),(563,38),(669,89),(669,-188)],
  [(563,102),(563,137),(669,188),(669,153)],
  [(563,51),(563,84),(669,135),(669,102)],
  [(350,8),(336,9),(324,14),(309,24),(297,39),(288,63),(288,83),(294,101),(305,116),(324,131),(342,137),(543,137),(543,102),(348,102),(342,101),(333,95),(324,83),(324,63),(330,53),(342,45),(431,44),(453,41),(485,27),(509,8)],
  [(269,153),(275,158),(284,165),(293,171),(303,177),(314,182),(324,185),(335,188),(543,188),(543,153)],
  [(234,-138),(234,-102),(432,-102),(447,-93),(452,-86),(453,-80),(455,-78),(455,-69),(452,-60),(444,-51),(435,-45),(335,-44),(314,-38),(303,-33),(284,-21),(269,-9),(435,-9),(453,-15),(473,-30),(483,-45),(488,-57),(489,-83),(488,-89),(480,-107),(468,-122),(453,-132),(441,-137)],
  [(234,-189),(234,-153),(509,-153),(503,-159),(494,-167),(485,-173),(474,-177),(464,-182),(453,-186),(443,-188),(431,-189)],
  [(-17,152),(-32,164),(-48,174),(-78,189),(219,189),(219,152)],
  [(-74,-188),(-66,-183),(-48,-174),(-32,-164),(-17,-150),(219,-150),(219,-188)],
  [(2,-134),(23,-105),(32,-87),(45,-50),(51,-11),(51,11),(45,50),(39,69),(23,105),(2,134),(219,134),(219,98),(68,98),(75,81),(84,47),(218,47),(218,9),(89,9),(89,-8),(218,-8),(218,-45),(84,-45),(75,-81),(68,-98),(219,-98),(219,-134)],
  [(-249,-188),(-249,-150),(-153,-150),(-123,-146),(-83,-129),(-71,-120),(-60,-111),(-39,-89),(-24,-65),(-18,-50),(-12,-21),(-11,9),(-15,38),(-18,51),(-24,66),(-39,90),(-60,113),(-83,131),(-110,143),(-123,147),(-153,152),(-249,152),(-249,189),(-132,188),(-98,179),(-63,162),(-48,152),(-21,128),(2,98),(11,81),(18,65),(23,47),(29,11),(29,-9),(27,-27),(18,-63),(11,-80),(2,-96),(-21,-126),(-48,-150),(-63,-161),(-80,-170),(-114,-182),(-132,-186),(-152,-188)],
  [(-158,-134),(-158,-98),(-143,-98),(-125,-93),(-99,-80),(-78,-59),(-65,-33),(-60,-15),(-60,15),(-65,33),(-78,59),(-99,80),(-116,89),(-143,98),(-158,98),(-158,134),(-150,134),(-113,126),(-78,107),(-59,90),(-44,69),(-32,45),(-24,8),(-24,-8),(-32,-45),(-51,-80),(-68,-99),(-89,-114),(-113,-126),(-138,-132)],
  [(-488,-134),(-527,-126),(-561,-107),(-579,-90),(-596,-69),(-611,-33),(-614,-8),(-614,8),(-611,33),(-602,57),(-596,69),(-588,80),(-570,99),(-561,107),(-527,126),(-488,134),(-387,134),(-387,98),(-495,98),(-515,93),(-540,80),(-560,59),(-566,51),(-570,42),(-576,24),(-579,5),(-578,-15),(-576,-24),(-566,-51),(-540,-80),(-515,-93),(-495,-98),(-387,-98),(-387,-134)],
  [(-491,-188),(-510,-186),(-528,-182),(-563,-170),(-579,-161),(-594,-150),(-621,-126),(-633,-111),(-644,-96),(-659,-63),(-665,-45),(-669,-9),(-668,29),(-665,47),(-659,65),(-644,98),(-621,128),(-594,152),(-563,171),(-545,179),(-510,188),(-387,189),(-387,152),(-489,152),(-519,147),(-533,143),(-560,131),(-582,113),(-603,90),(-618,66),(-624,51),(-632,9),(-632,-8),(-624,-50),(-618,-65),(-603,-89),(-593,-101),(-572,-120),(-560,-129),(-533,-141),(-519,-146),(-504,-149),(-387,-150),(-387,-188)],
  [(-369,-188),(-369,38),(-263,89),(-263,-188)],
  [(-369,102),(-369,137),(-263,188),(-263,153)],
  [(-369,51),(-369,84),(-263,135),(-263,102)])
R(logo_cidesi, Corte_nitruro_Si3N4, [(-800,-225,800,225)])

antena01 = lib.new_cell('Antena01')
R(antena01, Metal_Cr_Ni, [(3900,3900,4900,4900)])
P(antena01, Metal_Cr_Ni, [(4303,2583),(4284,2588),(4284,3900),(4900,3900)],
  [(1787,2100),(1787,3100),(2787,3100),(2787,2694),(3098,2695),(3100,2681),(2787,2100)])
R(antena01, Corte_nitruro_Si3N4, [(1837,2144,2737,3044), (3950,3950,4850,4850)])
antena01.add(gdstk.Reference(spiral, (459324,-8226), rotation=radians(5)))
antena01.add(gdstk.Reference(chip_plantilla5x5mm, (0,0)))
antena01.add(gdstk.Reference(logo_cidesi, (4000,250)))

lib.write_gds('Antena01.gds')
